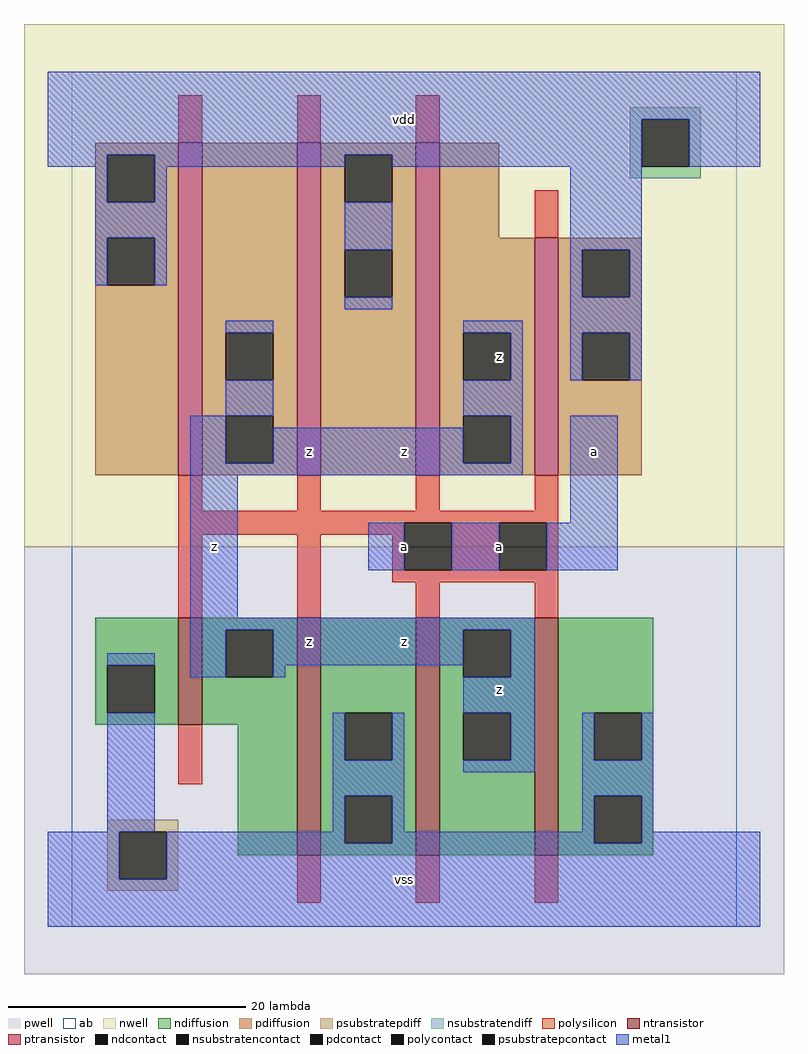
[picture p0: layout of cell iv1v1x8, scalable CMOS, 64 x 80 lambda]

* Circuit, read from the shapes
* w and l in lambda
.subckt iv1v1x8 a vdd vss z
M1 z a vss vss nfet w=9 l=2
M2 vss a z vss nfet w=20 l=2 m=3
M3 z a vdd vdd pfet w=28 l=2 m=3
M4 vdd a z vdd pfet w=20 l=2
.ends

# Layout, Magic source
magic
tech scmos
<< ab >>
rect 0 0 56 72
<< pwell >>
rect -4 -4 60 32
<< nwell >>
rect -4 32 60 76
<< polysilicon >>
rect 9 66 11 70
rect 19 66 21 70
rect 29 66 31 70
rect 39 58 41 62
rect 9 35 11 38
rect 19 35 21 38
rect 29 35 31 38
rect 39 35 41 38
rect 9 34 41 35
rect 9 33 28 34
rect 9 26 11 33
rect 19 26 21 33
rect 27 30 28 33
rect 32 30 36 34
rect 40 30 41 34
rect 27 29 41 30
rect 29 26 31 29
rect 39 26 41 29
rect 9 12 11 17
rect 19 2 21 6
rect 29 2 31 6
rect 39 2 41 6
<< ndiffusion >>
rect 2 22 9 26
rect 2 18 3 22
rect 7 18 9 22
rect 2 17 9 18
rect 11 25 19 26
rect 11 21 13 25
rect 17 21 19 25
rect 11 17 19 21
rect 14 6 19 17
rect 21 18 29 26
rect 21 14 23 18
rect 27 14 29 18
rect 21 11 29 14
rect 21 7 23 11
rect 27 7 29 11
rect 21 6 29 7
rect 31 25 39 26
rect 31 21 33 25
rect 37 21 39 25
rect 31 18 39 21
rect 31 14 33 18
rect 37 14 39 18
rect 31 6 39 14
rect 41 18 49 26
rect 41 14 44 18
rect 48 14 49 18
rect 41 11 49 14
rect 41 7 44 11
rect 48 7 49 11
rect 41 6 49 7
<< pdiffusion >>
rect 2 65 9 66
rect 2 61 3 65
rect 7 61 9 65
rect 2 58 9 61
rect 2 54 3 58
rect 7 54 9 58
rect 2 38 9 54
rect 11 50 19 66
rect 11 46 13 50
rect 17 46 19 50
rect 11 43 19 46
rect 11 39 13 43
rect 17 39 19 43
rect 11 38 19 39
rect 21 65 29 66
rect 21 61 23 65
rect 27 61 29 65
rect 21 57 29 61
rect 21 53 23 57
rect 27 53 29 57
rect 21 38 29 53
rect 31 58 36 66
rect 31 50 39 58
rect 31 46 33 50
rect 37 46 39 50
rect 31 43 39 46
rect 31 39 33 43
rect 37 39 39 43
rect 31 38 39 39
rect 41 57 48 58
rect 41 53 43 57
rect 47 53 48 57
rect 41 50 48 53
rect 41 46 43 50
rect 47 46 48 50
rect 41 38 48 46
<< metal1 >>
rect -2 68 58 72
rect -2 65 48 68
rect -2 64 3 65
rect 2 61 3 64
rect 7 64 23 65
rect 7 61 8 64
rect 2 58 8 61
rect 2 54 3 58
rect 7 54 8 58
rect 27 64 48 65
rect 52 64 58 68
rect 23 57 27 61
rect 23 52 27 53
rect 42 57 48 64
rect 42 53 43 57
rect 47 53 48 57
rect 13 50 17 51
rect 13 43 17 46
rect 10 39 13 43
rect 33 50 38 51
rect 37 46 38 50
rect 42 50 48 53
rect 42 46 43 50
rect 47 46 48 50
rect 33 43 38 46
rect 17 39 33 42
rect 37 39 38 43
rect 10 38 38 39
rect 10 26 14 38
rect 42 34 46 43
rect 25 30 28 34
rect 32 30 36 34
rect 40 30 46 34
rect 10 25 39 26
rect 3 22 7 23
rect 10 21 13 25
rect 17 22 33 25
rect 17 21 18 22
rect 37 21 39 25
rect 33 18 39 21
rect 3 8 7 18
rect 22 14 23 18
rect 27 14 28 18
rect 22 11 28 14
rect 37 14 39 18
rect 33 13 39 14
rect 43 14 44 18
rect 48 14 49 18
rect 22 8 23 11
rect -2 4 4 8
rect 8 7 23 8
rect 27 8 28 11
rect 43 11 49 14
rect 43 8 44 11
rect 27 7 44 8
rect 48 8 49 11
rect 48 7 58 8
rect 8 4 58 7
rect -2 0 58 4
<< ntransistor >>
rect 9 17 11 26
rect 19 6 21 26
rect 29 6 31 26
rect 39 6 41 26
<< ptransistor >>
rect 9 38 11 66
rect 19 38 21 66
rect 29 38 31 66
rect 39 38 41 58
<< polycontact >>
rect 28 30 32 34
rect 36 30 40 34
<< ndcontact >>
rect 3 18 7 22
rect 13 21 17 25
rect 23 14 27 18
rect 23 7 27 11
rect 33 21 37 25
rect 33 14 37 18
rect 44 14 48 18
rect 44 7 48 11
<< pdcontact >>
rect 3 61 7 65
rect 3 54 7 58
rect 13 46 17 50
rect 13 39 17 43
rect 23 61 27 65
rect 23 53 27 57
rect 33 46 37 50
rect 33 39 37 43
rect 43 53 47 57
rect 43 46 47 50
<< psubstratepcontact >>
rect 4 4 8 8
<< nsubstratencontact >>
rect 48 64 52 68
<< psubstratepdiff >>
rect 3 8 9 9
rect 3 4 4 8
rect 8 4 9 8
rect 3 3 9 4
<< nsubstratendiff >>
rect 47 68 53 69
rect 47 64 48 68
rect 52 64 53 68
rect 47 63 53 64
<< labels >>
rlabel metal1 12 32 12 32 6 z
rlabel metal1 20 24 20 24 6 z
rlabel metal1 20 40 20 40 6 z
rlabel metal1 28 4 28 4 6 vss
rlabel metal1 36 20 36 20 6 z
rlabel metal1 28 24 28 24 6 z
rlabel metal1 28 32 28 32 6 a
rlabel metal1 36 32 36 32 6 a
rlabel metal1 28 40 28 40 6 z
rlabel pdcontact 36 48 36 48 6 z
rlabel metal1 28 68 28 68 6 vdd
rlabel metal1 44 40 44 40 6 a
<< end >>
